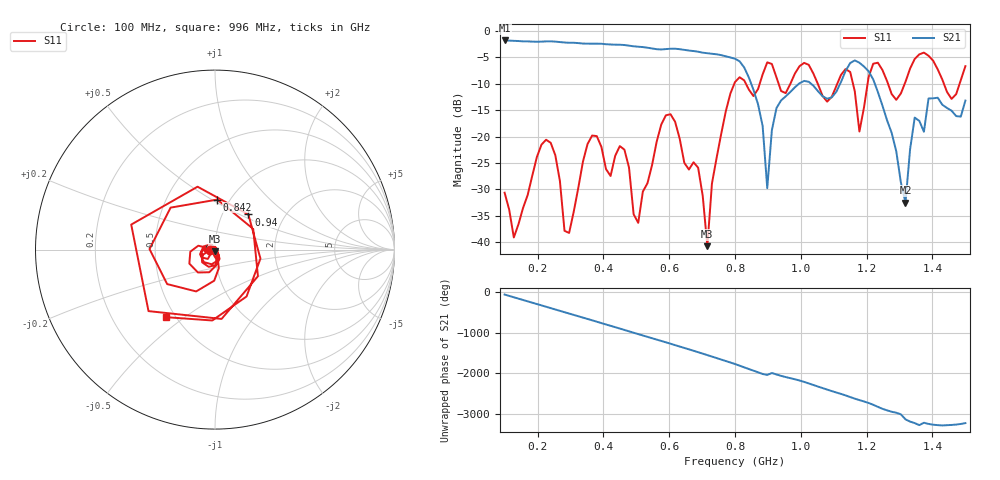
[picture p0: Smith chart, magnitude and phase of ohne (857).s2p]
! NanoVNA-App
! Date: 2025-09-25 14:27:28
! Start: 100MHz Stop: 1,5GHz Points: 101
! S-Parameter data: F S11 S21 S12 S22
# Hz S RI R 50
!  Frequency  S11_Real  S11_Imag  S21_Real  S21_Imag  S12_Real  S12_Imag  S22_Real  S22_Imag
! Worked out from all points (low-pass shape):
!   101 points, 100 MHz to 1.5 GHz, reference 50 ohm
!   highest |S21| = -1.79 dB at 100 MHz (marker M1); lowest = -32.5 dB at 1.318 GHz (marker M2)
!   |S21| within 3 dB of the highest: start of sweep to 771.8 MHz
!   lowest |S11| = -40.8 dB at 716 MHz (marker M3), VSWR 1.02, Z = 49.7 - j0.872 ohm
!   |S11| at or under -10 dB: start of sweep to 797.9 MHz; 833.2 MHz to 875.1 MHz (41.88 MHz wide, 4.9 % of centre); 1.052 GHz to 1.111 GHz (59.12 MHz wide, 5.47 % of centre) (the widest 3 of 7)
!   S12 and S22 are empty: the file has one direction only
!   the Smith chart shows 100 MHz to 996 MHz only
!   S11 on the Smith chart (normalised r, x): 100 MHz: 0.94, -0.01; 842 MHz: 0.88, +0.53; 940 MHz: 1.32, +0.56; 996 MHz: 0.45, -0.43
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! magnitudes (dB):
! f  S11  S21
! 100 MHz  -30.6  -1.8
! 128 MHz  -39.1  -1.9
! 226 MHz  -20.6  -2.0
! 296 MHz  -38.3  -2.2
! 338 MHz  -24.7  -2.4
! 464 MHz  -22.5  -2.7
! 506 MHz  -36.3  -3.0
! 576 MHz  -17.7  -3.5
! 688 MHz  -25.9  -3.9
! 716 MHz  -40.8  -4.2
! 800 MHz  -9.7  -5.3
! 842 MHz  -11.1  -8.8
! 898 MHz  -5.9  -29.8
! 940 MHz  -11.4  -13.2
! 996 MHz  -6.7  -9.9
! 1.038 GHz  -8.0  -10.4
! 1.178 GHz  -19.0  -6.0
! 1.22 GHz  -6.2  -9.2
! 1.276 GHz  -11.9  -19.3
! 1.318 GHz  -9.6  -32.5
! 1.346 GHz  -5.3  -16.4
! 1.5 GHz  -6.7  -13.2
